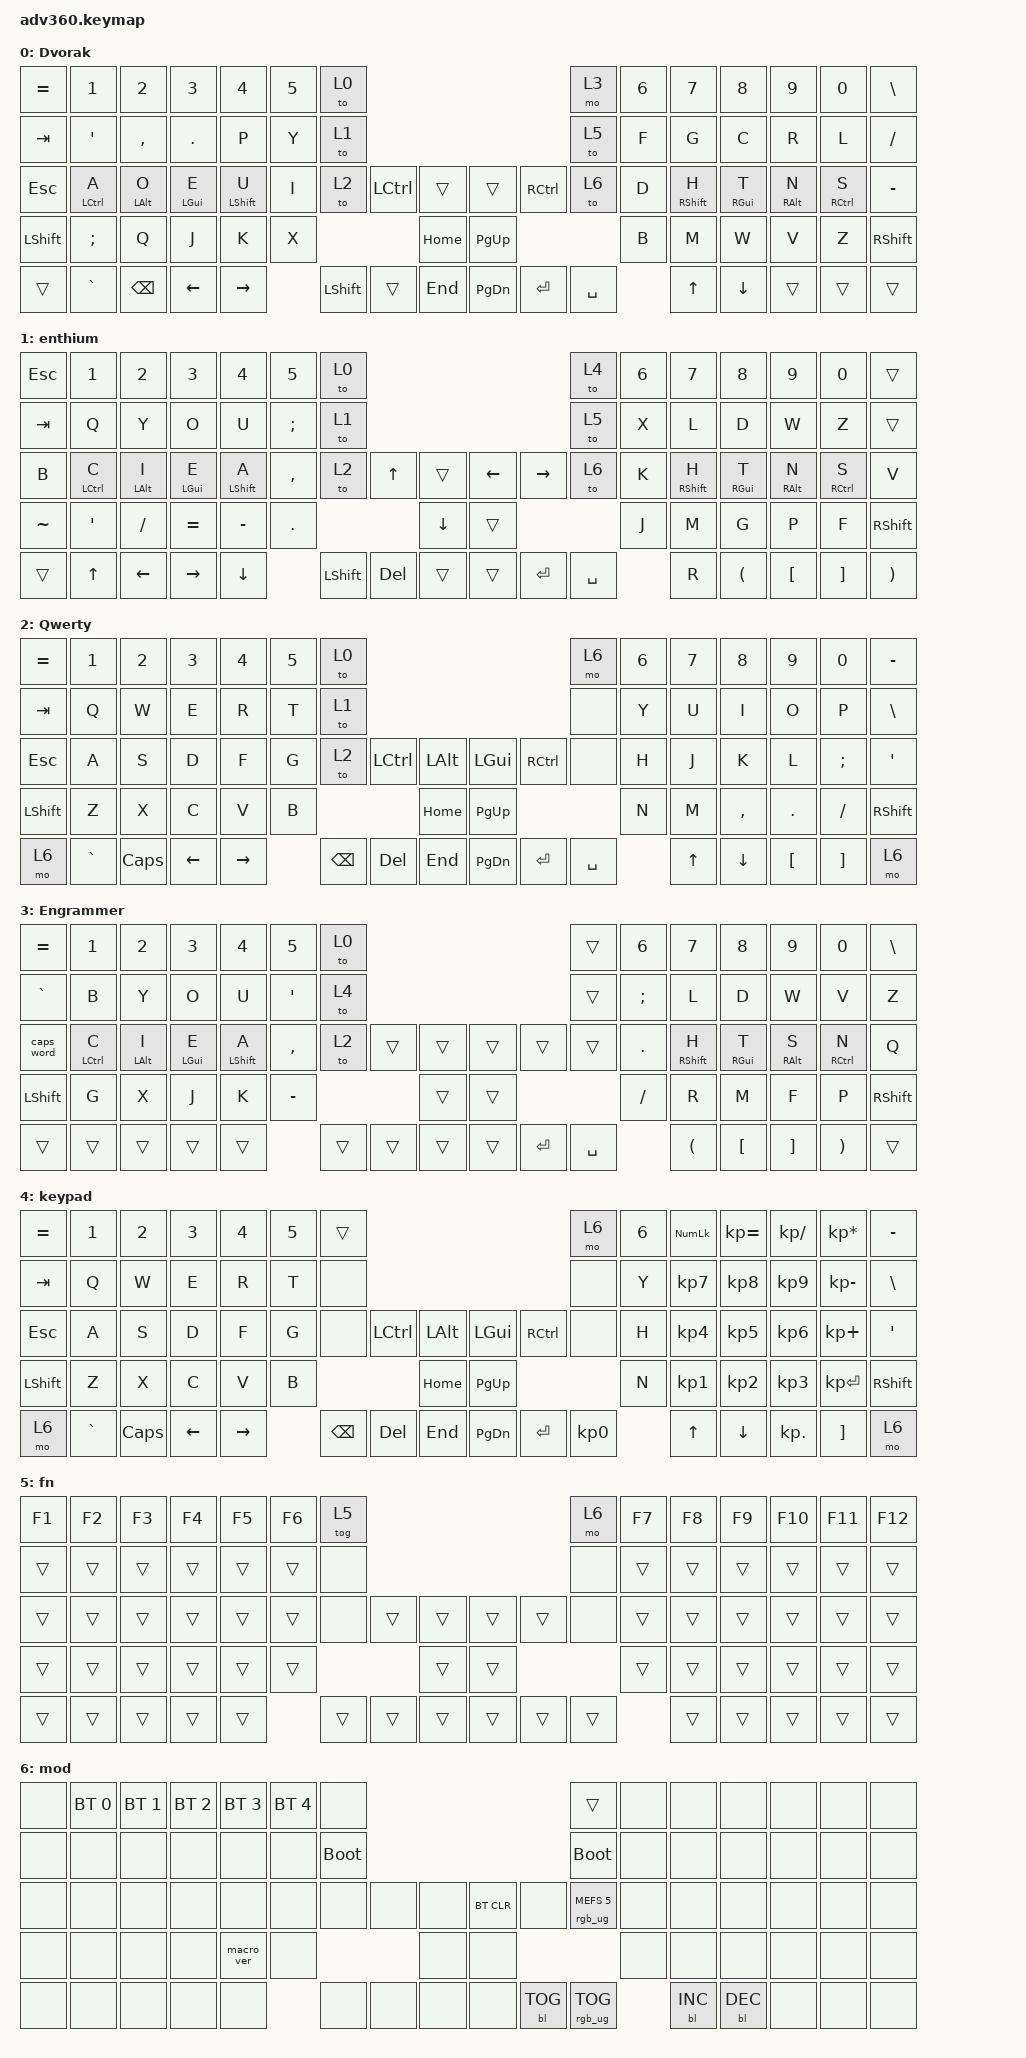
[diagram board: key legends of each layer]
#include <behaviors.dtsi>
#include <dt-bindings/zmk/backlight.h>
#include <dt-bindings/zmk/bt.h>
#include <dt-bindings/zmk/keys.h>
#include <dt-bindings/zmk/rgb.h>

/ {
    behaviors {
        #include "macros.dtsi"
      #include "version.dtsi"
      #ifndef VERSION_MACRO

        macro_ver: macro_ver {
            compatible = "zmk,behavior-macro";
            label = "macro_version";
            #binding-cells = <0>;
            bindings = <&kp RET>;
        };

        #endif

        hm_l: hm_l {
            compatible = "zmk,behavior-hold-tap";
            label = "HM_L";
            #binding-cells = <2>;
            tapping-term-ms = <200>;
            flavor = "balanced";
            bindings = <&kp>, <&kp>;

            hold-trigger-key-positions = <7 8 9 10 11 12 13 21 22 23 24 25 26 27 39 40 41 42 43 44 45 54 55 56 57 58 59 71 72 73 74 75 70 69>;
            hold-trigger-on-release;
        };

        hm_r: hm_r {
            compatible = "zmk,behavior-hold-tap";
            label = "HM_R";
            bindings = <&kp>, <&kp>;

            #binding-cells = <2>;
            tapping-term-ms = <200>;
            flavor = "balanced";
            hold-trigger-key-positions = <0 1 2 3 4 5 6 14 15 16 17 18 19 20 28 29 30 31 32 33 34 46 47 48 49 50 51 60 61 62 63 64 66 65>;
            hold-trigger-on-release;
        };
    };

    combos {
        compatible = "zmk,combos";

        at {
            bindings = <&kp AT_SIGN>;
            key-positions = <16 30>;
            require-prior-idle-ms = <150>;
        };

        backspace {
            bindings = <&kp BACKSPACE>;
            key-positions = <23 24>;
            require-prior-idle-ms = <150>;
        };

        dollar {
            bindings = <&kp DOLLAR>;
            key-positions = <17 31>;
            require-prior-idle-ms = <150>;
        };

        percent {
            bindings = <&kp PERCENT>;
            key-positions = <32 18>;
            require-prior-idle-ms = <150>;
        };

        escape {
            bindings = <&kp ESCAPE>;
            key-positions = <15 16>;
            require-prior-idle-ms = <150>;
        };
    };

    macros {
    };

    keymap {
        compatible = "zmk,keymap";

        Dvorak {
            bindings = <
&kp EQUAL  &kp N1         &kp N2        &kp N3        &kp N4              &kp N5  &to 0                                                     &mo 3      &kp N6  &kp N7         &kp N8        &kp N9        &kp N0         &kp BSLH
&kp TAB    &kp APOS       &kp COMMA     &kp DOT       &kp P               &kp Y   &to 1                                                     &to 5      &kp F   &kp G          &kp C         &kp R         &kp L          &kp FSLH
&kp ESC    &hm_l LCTRL A  &hm_l LALT O  &hm_l LGUI E  &hm_l LEFT_SHIFT U  &kp I   &to 2      &kp LCTRL  &trans        &trans     &kp RCTRL  &to 6      &kp D   &hm_r RSHFT H  &hm_r RGUI T  &hm_r RALT N  &hm_r RCTRL S  &kp MINUS
&kp LSHFT  &kp SEMI       &kp Q         &kp J         &kp K               &kp X                         &kp HOME      &kp PG_UP                        &kp B   &kp M          &kp W         &kp V         &kp Z          &kp RSHFT
&trans     &kp GRAVE      &kp BSPC      &kp LEFT      &kp RIGHT                   &kp LSHFT  &trans     &kp END       &kp PG_DN  &kp RET    &kp SPACE          &kp UP         &kp DOWN      &trans        &trans         &trans
            >;
        };

        enthium {
            bindings = <
&kp ESCAPE  &kp N1                &kp N2            &kp N3            &kp N4              &kp N5         &to 0                                                                  &to 4      &kp N6  &kp N7               &kp N8                &kp N9             &kp N0                 &trans
&kp TAB     &kp Q                 &kp Y             &kp O             &kp U               &kp SEMICOLON  &to 1                                                                  &to 5      &kp X   &kp L                &kp D                 &kp W              &kp Z                  &trans
&kp B       &hm_l LEFT_CONTROL C  &hm_l LEFT_ALT I  &hm_l LEFT_GUI E  &hm_l LEFT_SHIFT A  &kp COMMA      &to 2           &kp UP_ARROW  &trans              &kp LEFT  &kp RIGHT  &to 6      &kp K   &hm_r RIGHT_SHIFT H  &hm_r RIGHT_GUI T     &hm_r RIGHT_ALT N  &hm_r RIGHT_CONTROL S  &kp V
&kp TILDE   &kp SQT               &kp SLASH         &kp EQUAL         &kp MINUS           &kp PERIOD                                   &kp DOWN_ARROW      &trans                          &kp J   &kp M                &kp G                 &kp P              &kp F                  &kp RSHFT
&trans      &kp UP_ARROW          &kp LEFT_ARROW    &kp RIGHT_ARROW   &kp DOWN_ARROW                     &kp LEFT_SHIFT  &kp DEL       &trans              &trans    &kp ENTER  &kp SPACE          &kp R                &kp LEFT_PARENTHESIS  &kp LEFT_BRACKET   &kp RIGHT_BRACKET      &kp RIGHT_PARENTHESIS
            >;
        };

        Qwerty {
            bindings = <
&kp EQUAL  &kp N1     &kp N2    &kp N3    &kp N4     &kp N5  &to 0                                                    &mo 6      &kp N6  &kp N7  &kp N8     &kp N9    &kp N0    &kp MINUS
&kp TAB    &kp Q      &kp W     &kp E     &kp R      &kp T   &to 1                                                    &none      &kp Y   &kp U   &kp I      &kp O     &kp P     &kp BSLH
&kp ESC    &kp A      &kp S     &kp D     &kp F      &kp G   &to 2     &kp LCTRL  &kp LALT      &kp LGUI   &kp RCTRL  &none      &kp H   &kp J   &kp K      &kp L     &kp SEMI  &kp SQT
&kp LSHFT  &kp Z      &kp X     &kp C     &kp V      &kp B                        &kp HOME      &kp PG_UP                        &kp N   &kp M   &kp COMMA  &kp DOT   &kp FSLH  &kp RSHFT
&mo 6      &kp GRAVE  &kp CAPS  &kp LEFT  &kp RIGHT          &kp BSPC  &kp DEL    &kp END       &kp PG_DN  &kp ENTER  &kp SPACE          &kp UP  &kp DOWN   &kp LBKT  &kp RBKT  &mo 6
            >;
        };

        Engrammer {
            bindings = <
&kp EQUAL   &kp N1                &kp N2            &kp N3            &kp N4              &kp N5     &to 0                                          &trans     &kp N6    &kp N7               &kp N8             &kp N9             &kp N0                 &kp BSLH
&kp GRAVE   &kp B                 &kp Y             &kp O             &kp U               &kp APOS   &to 4                                          &trans     &kp SEMI  &kp L                &kp D              &kp W              &kp V                  &kp Z
&caps_word  &hm_l LEFT_CONTROL C  &hm_l LEFT_ALT I  &hm_l LEFT_GUI E  &hm_l LEFT_SHIFT A  &kp COMMA  &to 2   &trans  &trans      &trans  &trans     &trans     &kp DOT   &hm_r RIGHT_SHIFT H  &hm_r RIGHT_GUI T  &hm_r RIGHT_ALT S  &hm_r RIGHT_CONTROL N  &kp Q
&kp LSHFT   &kp G                 &kp X             &kp J             &kp K               &kp MINUS                  &trans      &trans                        &kp FSLH  &kp R                &kp M              &kp F              &kp P                  &kp RSHFT
&trans      &trans                &trans            &trans            &trans                         &trans  &trans  &trans      &trans  &kp ENTER  &kp SPACE            &kp LPAR             &kp LBKT           &kp RBKT           &kp RIGHT_PARENTHESIS  &trans
            >;
        };

        keypad {
            bindings = <
&kp EQUAL  &kp N1     &kp N2    &kp N3    &kp N4     &kp N5  &trans                                                   &mo 6      &kp N6  &kp KP_NUM  &kp KP_EQUAL  &kp KP_DIVIDE  &kp KP_MULTIPLY  &kp MINUS
&kp TAB    &kp Q      &kp W     &kp E     &kp R      &kp T   &none                                                    &none      &kp Y   &kp KP_N7   &kp KP_N8     &kp KP_N9      &kp KP_MINUS     &kp BSLH
&kp ESC    &kp A      &kp S     &kp D     &kp F      &kp G   &none     &kp LCTRL  &kp LALT      &kp LGUI   &kp RCTRL  &none      &kp H   &kp KP_N4   &kp KP_N5     &kp KP_N6      &kp KP_PLUS      &kp SQT
&kp LSHFT  &kp Z      &kp X     &kp C     &kp V      &kp B                        &kp HOME      &kp PG_UP                        &kp N   &kp KP_N1   &kp KP_N2     &kp KP_N3      &kp KP_ENTER     &kp RSHFT
&mo 6      &kp GRAVE  &kp CAPS  &kp LEFT  &kp RIGHT          &kp BSPC  &kp DEL    &kp END       &kp PG_DN  &kp ENTER  &kp KP_N0          &kp UP      &kp DOWN      &kp KP_DOT     &kp RBKT         &mo 6
            >;
        };

        fn {
            bindings = <
&kp F1  &kp F2  &kp F3  &kp F4  &kp F5  &kp F6  &tog 5                                      &mo 6   &kp F7  &kp F8  &kp F9  &kp F10  &kp F11  &kp F12
&trans  &trans  &trans  &trans  &trans  &trans  &none                                       &none   &trans  &trans  &trans  &trans   &trans   &trans
&trans  &trans  &trans  &trans  &trans  &trans  &none   &trans  &trans      &trans  &trans  &none   &trans  &trans  &trans  &trans   &trans   &trans
&trans  &trans  &trans  &trans  &trans  &trans                  &trans      &trans                  &trans  &trans  &trans  &trans   &trans   &trans
&trans  &trans  &trans  &trans  &trans          &trans  &trans  &trans      &trans  &trans  &trans          &trans  &trans  &trans   &trans   &trans
            >;
        };

        mod {
            bindings = <
&none  &bt BT_SEL 0  &bt BT_SEL 1  &bt BT_SEL 2  &bt BT_SEL 3  &bt BT_SEL 4  &none                                                  &trans                  &none  &none       &none       &none  &none  &none
&none  &none         &none         &none         &none         &none         &bootloader                                            &bootloader             &none  &none       &none       &none  &none  &none
&none  &none         &none         &none         &none         &none         &none        &none  &none      &bt BT_CLR  &none       &rgb_ug RGB_MEFS_CMD 5  &none  &none       &none       &none  &none  &none
&none  &none         &none         &none         &macro_ver    &none                             &none      &none                                           &none  &none       &none       &none  &none  &none
&none  &none         &none         &none         &none                       &none        &none  &none      &none       &bl BL_TOG  &rgb_ug RGB_TOG                &bl BL_INC  &bl BL_DEC  &none  &none  &none
            >;
        };
    };
};
